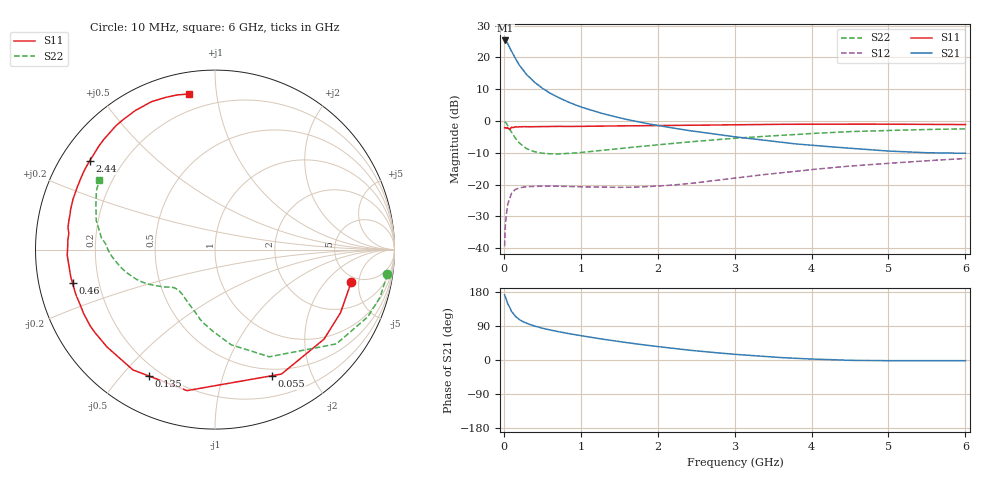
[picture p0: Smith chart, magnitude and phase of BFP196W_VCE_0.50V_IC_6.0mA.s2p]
! Infineon Technologies  Discrete & RF Semiconductors
! BFP196W
! VCE = 0.50V,  IC = 6.0mA
! Common Emitter S-Parameters:  Jan 2016
# GHz  S  MA  R  50
!  f  S11  S21  S12  S22
! GHz  MAG  ANG  MAG  ANG  MAG  ANG  MAG  ANG
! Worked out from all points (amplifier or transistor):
!   210 points, 10 MHz to 6 GHz, reference 50 ohm
!   highest |S21| = 25.3 dB at 20 MHz (marker M1)
!   |S21| within 3 dB of that: start of sweep to 91.53 MHz
!   unconditionally stable (mu >= 1): 1.288 GHz to 4.455 GHz; 4.527 GHz to end of sweep
!   at 185 MHz: K = 0.16, MSG = 19.7 dB, |S12| = -21.2 dB
!   at 1.52 GHz: K = 1.13, MAG = 8.7 dB, |S12| = -20.8 dB
!   at 6 GHz: K = 1.11, MAG = -1.2 dB, |S12| = -11.8 dB
!   S11 on the Smith chart (normalised r, x): 10 MHz: 4.34, -3.99; 55 MHz: 0.42, -1.46; 135 MHz: 0.16, -0.60; 460 MHz: 0.10, -0.12; 2.44 GHz: 0.09, +0.32; 6 GHz: 0.11, +0.84
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0.01  0.7806 -13.3  18.39 171.8  0.0108 81.3  0.9706 -8.1
0.02  0.7828 -26.7  18.42 166.5  0.0224 77.1  0.9571 -16.1
0.03  0.7862 -39.4  17.96 160.3  0.032 71.2  0.9302 -23.7
0.05  0.7861 -61.9  16.51 148.4  0.0488 59.6  0.8566 -37.8
0.055  0.7711 -65.7  16.03 146.8  0.0509 57.0  0.832 -39.8
0.1  0.801 -101.2  12.5 127.8  0.073 41.2  0.6696 -63.1
0.135  0.7946 -117.5  10.41 119.4  0.0806 33.3  0.5719 -74.3
0.15  0.8114 -124.3  9.606 114.8  0.0843 30.4  0.5384 -80.3
0.2  0.8101 -138.0  7.585 106.8  0.0884 24.3  0.4527 -91.9
0.24  0.8133 -145.4  6.535 102.3  0.0909 20.8  0.4136 -99.0
0.3  0.814 -153.9  5.287 96.4  0.0929 17.7  0.3651 -107.6
0.4  0.8147 -162.8  4.045 89.4  0.094 14.3  0.3294 -117.7
0.46  0.8154 -166.7  3.578 86.3  0.0945 13.3  0.3182 -121.6
0.7  0.8239 -177.8  2.37 75.1  0.0944 11.0  0.303 -132.4
1.02  0.8211 173.2  1.634 63.6  0.0924 11.6  0.3216 -139.2
1.44  0.8353 163.9  1.171 50.4  0.0909 15.9  0.3625 -145.3
2.02  0.8458 152.6  0.843 35.0  0.0954 25.6  0.4249 -153.4
2.44  0.8555 144.8  0.699 25.3  0.1049 31.8  0.4724 -160.0
3.1  0.8739 133.6  0.547 13.5  0.1306 37.0  0.5451 -171.3
4.1  0.8928 118.5  0.407 1.9  0.177 35.8  0.6441 172.4
5.1  0.8903 107.2  0.333 -1.8  0.2204 29.5  0.7146 158.1
6  0.8792 99.4  0.311 -1.8  0.2576 23.4  0.7523 149.0
